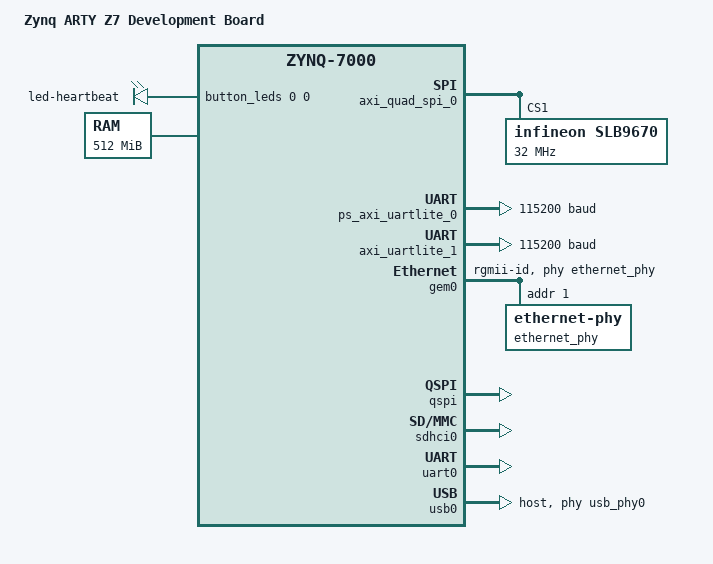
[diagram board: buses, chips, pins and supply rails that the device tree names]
/*
 * Digilent ARTY Z7 board DTS
 *
 *  Copyright (C) 2016 Digilent
 *
 * SPDX-License-Identifier:	GPL-2.0+
 */
/dts-v1/;
#include "zynq-7000.dtsi"

/ {
	amba_pl: amba_pl {
		#address-cells = <1>;
		#size-cells = <1>;
		compatible = "simple-bus";
		ranges ;
                axi_quad_spi_0: axi_quad_spi@41e00000 {
			bits-per-word = <8>;
			clock-names = "ext_spi_clk", "s_axi_aclk";
			clocks = <&clkc 15>, <&clkc 15>;
			compatible = "xlnx,axi-quad-spi-3.2", "xlnx,xps-spi-2.00.a";
			fifo-size = <16>;
			interrupt-names = "ip2intc_irpt";
			interrupt-parent = <&intc>;
			interrupts = <0 31 1>;
			num-cs = <0x1>;
			reg = <0x41e00000 0x10000>;
			xlnx,num-ss-bits = <0x1>;
			xlnx,spi-mode = <0>;
			xlnx,startup-block ;
		};
		ps_axi_uartlite_0: serial@42c00000 {
			clock-names = "s_axi_aclk";
			clocks = <&clkc 15>;
			compatible = "xlnx,axi-uartlite-2.0", "xlnx,xps-uartlite-1.00.a";
			current-speed = <115200>;
			device_type = "serial";
			interrupt-names = "interrupt";
			interrupt-parent = <&intc>;
			interrupts = <0 29 1>;
			port-number = <0>;
			reg = <0x42c00000 0x10000>;
			xlnx,baudrate = <0x1c200>;
			xlnx,data-bits = <0x8>;
			xlnx,odd-parity = <0x0>;
			xlnx,s-axi-aclk-freq-hz-d = "100.0";
			xlnx,use-parity = <0x0>;
		};
                axi_uartlite_1: serial@42c10000 {
			clock-names = "s_axi_aclk";
			clocks = <&clkc 15>;
			compatible = "xlnx,axi-uartlite-2.0", "xlnx,xps-uartlite-1.00.a";
			current-speed = <115200>;
			device_type = "serial";
			interrupt-names = "interrupt";
			interrupt-parent = <&intc>;
			interrupts = <0 30 1>;
			port-number = <1>;
			reg = <0x42c10000 0x10000>;
			xlnx,baudrate = <0x1c200>;
			xlnx,data-bits = <0x8>;
			xlnx,odd-parity = <0x0>;
			xlnx,s-axi-aclk-freq-hz-d = "100.0";
			xlnx,use-parity = <0x1>;
		};
		button_leds: gpio@41200000 {
			#gpio-cells = <3>;
			clock-names = "s_axi_aclk";
			clocks = <&clkc 15>;
			compatible = "xlnx,axi-gpio-2.0", "xlnx,xps-gpio-1.00.a";
			gpio-controller ;
			reg = <0x41200000 0x10000>;
			xlnx,all-inputs = <0x0>;
			xlnx,all-inputs-2 = <0x0>;
			xlnx,all-outputs = <0x1>;
			xlnx,all-outputs-2 = <0x0>;
			xlnx,dout-default = <0x00000001>;
			xlnx,dout-default-2 = <0x00000000>;
			xlnx,gpio-width = <0x4>;
			xlnx,gpio2-width = <0x20>;
			xlnx,interrupt-present = <0x0>;
			xlnx,is-dual = <0x0>;
			xlnx,tri-default = <0xFFFFFFFF>;
			xlnx,tri-default-2 = <0xFFFFFFFF>;
		};
                gpio-leds {
                        compatible = "gpio-leds";
                        led-heartbeat {
                        gpios = <&button_leds 0 0 0>;
                        default-state = "on";
                        linux,default-trigger = "heartbeat";
                        };
                };

	};
};

/ {
	model = "Zynq ARTY Z7 Development Board";
	compatible = "digilent,zynq-artyz7", "xlnx,zynq-7000";

	aliases {
		ethernet0 = &gem0;
		mmc0 = &sdhci0;
		serial0 = &uart0;
                serial1 = &ps_axi_uartlite_0;
                serial2 = &axi_uartlite_1;
		spi0 = &qspi;
                spi1 = &axi_quad_spi_0;
	};

	memory {
		device_type = "memory";
		reg = <0x0 0x20000000>;
	};

	chosen {
		bootargs = "";
		stdout-path = "serial0:115200n8";
	};

	usb_phy0: phy0 {
                compatible = "ulpi-phy";
                #phy-cells = <0>;
                reg = <0xe0002000 0x1000>;
                view-port = <0x170>;
                drv-vbus;
	};
};

&clkc {
	ps-clk-frequency = <50000000>;
};

&gem0 {
	status = "okay";
	phy-mode = "rgmii-id";
	phy-handle = <&ethernet_phy>;
        local-mac-address = [00 0a 35 00 00 00];

	ethernet_phy: ethernet-phy@0 { /* rtl8211e-vl */
		reg = <1>;
	};
};

&qspi {
	u-boot,dm-pre-reloc;
	status = "okay";
};

&sdhci0 {
	u-boot,dm-pre-reloc;
	status = "okay";
};

&uart0 {
	u-boot,dm-pre-reloc;
	status = "okay";
}

&usb0 {
	status = "okay";
	dr_mode = "host";
	usb-phy = <&usb_phy0>;
};

&intc {
	num_cpus = <2>;
	num_interrupts = <96>;
};


&axi_quad_spi_0 {
	status = "okay";
        slb9670: slb9670@0{
                 compatible = "infineon,slb9670";
                 reg = <1>; /* CE1 */
                 #address-cells = <1>;
                 #size-cells = <0>;
                 spi-max-frequency = <32000000>;
                 status = "okay";
        };
};
